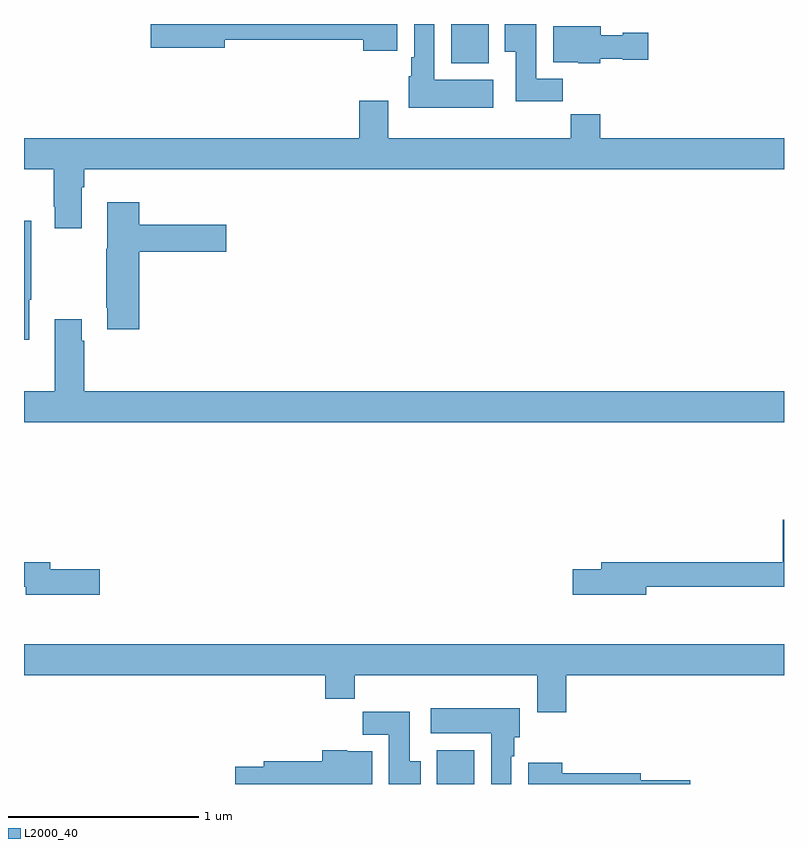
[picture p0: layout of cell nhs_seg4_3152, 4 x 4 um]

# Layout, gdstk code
import gdstk
lib = gdstk.Library(unit=1e-6, precision=1e-09)
def R(c, l, rs):  # rectangles x0, y0, x1, y1
    for r in rs: c.add(gdstk.rectangle(r[:2], r[2:], *l))
def P(c, l, *ps):  # polygons
    for p in ps: c.add(gdstk.Polygon(p, *l))
L2000_40 = (2000, 40)

nhs_seg4_3152 = lib.new_cell('nhs_seg4_3152')
R(nhs_seg4_3152, L2000_40, [(279.173,810.9,279.37,811.078), (279.248,814.694,279.445,814.9)])
P(nhs_seg4_3152, L2000_40, [(279.469,814.606),(279.16,814.606),(279.16,814.9),(279.053,814.9),(279.053,814.726),(279.038,814.726),(279.038,814.626),(279.026,814.626),(279.026,814.46),(279.469,814.46)],
  [(278.965,814.9),(277.668,814.9),(277.668,814.774),(278.056,814.774),(278.056,814.816),(278.786,814.816),(278.786,814.76),(278.965,814.76)],
  [(279.836,814.612),(279.697,814.612),(279.697,814.9),(279.53,814.9),(279.53,814.753),(279.587,814.753),(279.587,814.494),(279.836,814.494)],
  [(280.032,814.718),(280.152,814.718),(280.152,814.711),(280.285,814.711),(280.285,814.853),(280.152,814.853),(280.152,814.84),(280.036,814.84),(280.036,814.888),(279.785,814.888),(279.785,814.7),(279.918,814.7),(279.918,814.694),(280.032,814.694)],
  [(277.303,814.04),(277.316,814.04),(277.316,814.136),(281,814.136),(281,814.3),(280.034,814.3),(280.034,814.424),(279.877,814.424),(279.877,814.3),(278.917,814.3),(278.917,814.495),(278.765,814.495),(278.765,814.3),(277,814.3),(277,814.136),(277.156,814.136),(277.156,813.937),(277.163,813.937),(277.163,813.825),(277.303,813.825)],
  [(277.607,813.701),(278.065,813.701),(278.065,813.843),(277.607,813.843),(277.607,813.961),(277.439,813.961),(277.439,813.717),(277.432,813.717),(277.432,813.406),(277.439,813.406),(277.439,813.294),(277.607,813.294)],
  [(277.027,813.449),(277.039,813.449),(277.039,813.865),(277,813.865),(277,813.237),(277.027,813.237)],
  [(281,812.968),(277.316,812.968),(277.316,813.233),(277.303,813.233),(277.303,813.346),(277.163,813.346),(277.163,812.968),(277,812.968),(277,812.804),(281,812.804)],
  [(280.276,811.938),(281,811.938),(281,812.29),(280.994,812.29),(280.994,812.066),(280.037,812.066),(280.037,812.03),(279.888,812.03),(279.888,811.895),(280.276,811.895)],
  [(277.399,812.03),(277.138,812.03),(277.138,812.066),(277,812.066),(277,811.938),(277.01,811.938),(277.01,811.895),(277.399,811.895)],
  [(279.854,811.472),(281,811.472),(281,811.636),(277,811.636),(277,811.472),(278.585,811.472),(278.585,811.348),(278.741,811.348),(278.741,811.472),(279.701,811.472),(279.701,811.278),(279.854,811.278)],
  [(279.565,811.046),(279.58,811.046),(279.58,811.146),(279.61,811.146),(279.61,811.3),(279.141,811.3),(279.141,811.166),(279.458,811.166),(279.458,810.9),(279.565,810.9)],
  [(279.088,811.02),(279.031,811.02),(279.031,811.279),(278.782,811.279),(278.782,811.16),(278.921,811.16),(278.921,810.9),(279.088,810.9)],
  [(278.833,811.072),(278.7,811.072),(278.7,811.078),(278.57,811.078),(278.57,811.02),(278.261,811.02),(278.261,810.99),(278.112,810.99),(278.112,810.9),(278.833,810.9)],
  [(280.507,810.92),(280.246,810.92),(280.246,810.956),(279.832,810.956),(279.832,811.012),(279.653,811.012),(279.653,810.9),(280.507,810.9)])

lib.write_gds('nhs_seg4_3152.gds')
